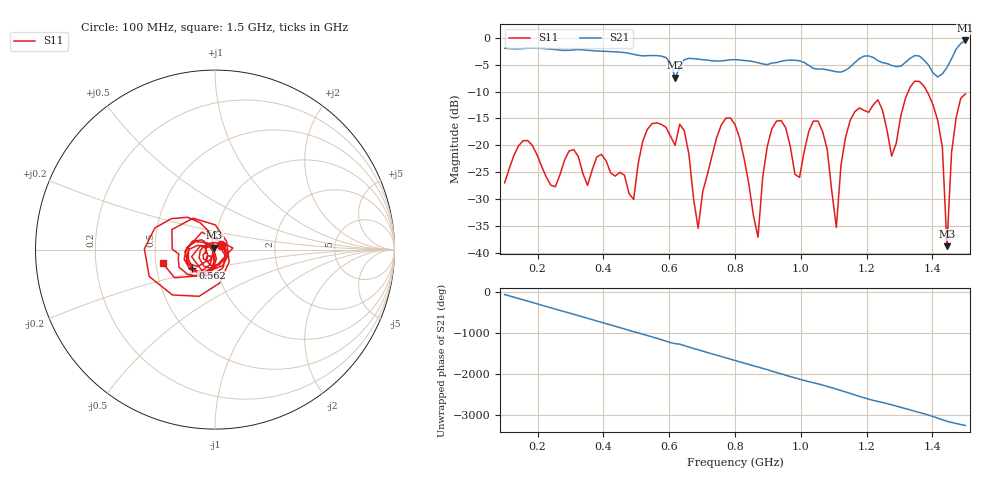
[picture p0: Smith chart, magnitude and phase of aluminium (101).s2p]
! NanoVNA-App
! Date: 2025-09-25 14:56:03
! Start: 100MHz Stop: 1,5GHz Points: 101
! S-Parameter data: F S11 S21 S12 S22
# Hz S RI R 50
!  Frequency  S11_Real  S11_Imag  S21_Real  S21_Imag  S12_Real  S12_Imag  S22_Real  S22_Imag
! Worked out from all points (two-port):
!   101 points, 100 MHz to 1.5 GHz, reference 50 ohm
!   highest |S21| = -0.47 dB at 1.5 GHz (marker M1); lowest = -7.4 dB at 618 MHz (marker M2)
!   |S21| within 3 dB of the highest: start of sweep to 580.5 MHz; 1.461 GHz to end of sweep (the widest 2 of 4)
!   lowest |S11| = -38.8 dB at 1.444 GHz (marker M3), VSWR 1.02, Z = 49.5 + j1.04 ohm
!   |S11| at or under -10 dB: start of sweep to 1.326 GHz; 1.383 GHz to end of sweep
!   S12 and S22 are empty: the file has one direction only
!   S11 on the Smith chart (normalised r, x): 100 MHz: 1.07, +0.06; 562 MHz: 0.76, -0.16; 1.5 GHz: 0.54, -0.09
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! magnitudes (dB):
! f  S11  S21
! 100 MHz  -27.0  -1.9
! 156 MHz  -19.2  -2.0
! 338 MHz  -25.3  -2.2
! 492 MHz  -30.1  -3.1
! 562 MHz  -15.8  -3.3
! 576 MHz  -16.1  -3.4
! 618 MHz  -20.0  -7.4
! 646 MHz  -17.3  -4.1
! 688 MHz  -35.4  -3.9
! 800 MHz  -16.1  -4.0
! 870 MHz  -37.1  -4.6
! 912 MHz  -16.9  -4.7
! 996 MHz  -26.0  -4.3
! 1.038 GHz  -15.5  -5.7
! 1.108 GHz  -35.3  -6.3
! 1.164 GHz  -13.7  -4.6
! 1.276 GHz  -22.0  -5.1
! 1.374 GHz  -9.0  -4.1
! 1.43 GHz  -20.3  -6.7
! 1.444 GHz  -38.8  -5.5
! 1.458 GHz  -21.3  -3.9
! 1.5 GHz  -10.4  -0.5
